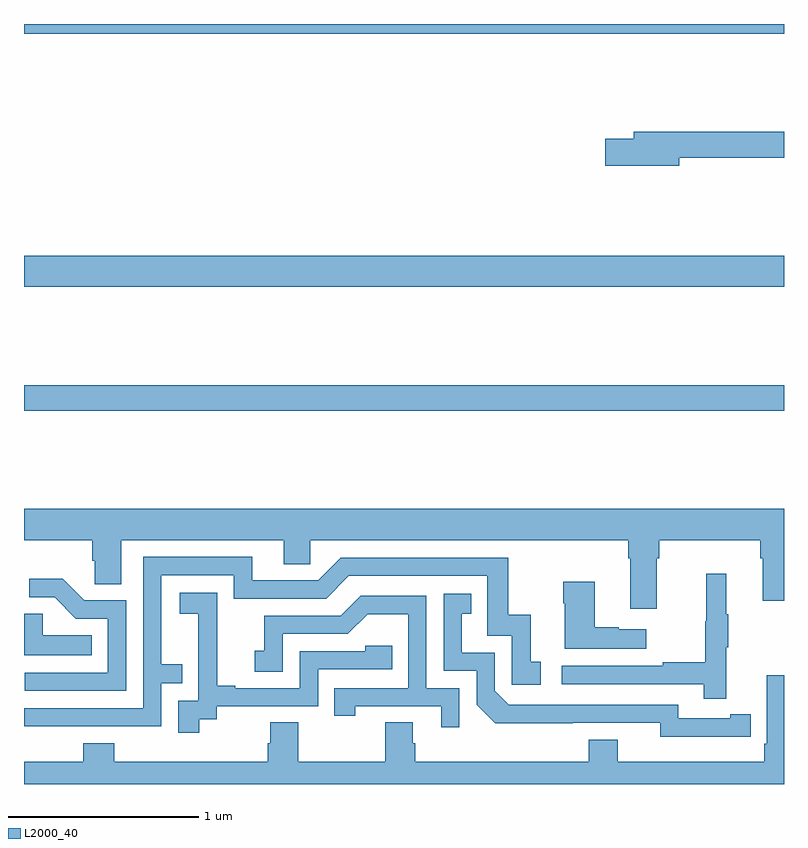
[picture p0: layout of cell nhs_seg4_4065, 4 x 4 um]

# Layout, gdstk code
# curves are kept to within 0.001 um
import gdstk
lib = gdstk.Library(unit=1e-6, precision=1e-09)
def R(c, l, rs):  # rectangles x0, y0, x1, y1
    for r in rs: c.add(gdstk.rectangle(r[:2], r[2:], *l))
def P(c, l, *ps):  # polygons
    for p in ps: c.add(gdstk.Polygon(p, *l))
L2000_40 = (2000, 40)

nhs_seg4_4065 = lib.new_cell('nhs_seg4_4065')
R(nhs_seg4_4065, L2000_40, [(327,766.864,331,767), (327,767.516,331,767.68), (327,768.848,331,768.9)])
P(nhs_seg4_4065, L2000_40, [(330.448,768.196),(331,768.196),(331,768.332),(330.209,768.332),(330.209,768.296),(330.06,768.296),(330.06,768.154),(330.448,768.154)],
  [(330.331,766.088),(330.344,766.088),(330.344,766.184),(330.875,766.184),(330.875,766.088),(330.887,766.088),(330.887,765.864),(331,765.864),(331,766.348),(327,766.348),(327,766.184),(327.359,766.184),(327.359,766.075),(327.372,766.075),(327.372,765.952),(327.511,765.952),(327.511,766.184),(328.367,766.184),(328.367,766.057),(328.506,766.057),(328.506,766.184),(330.179,766.184),(330.179,766.088),(330.191,766.088),(330.191,765.822),(330.331,765.822)],
  [(327.227,765.204),(327.723,765.204),(327.723,765.429),(327.833,765.429),(327.833,765.53),(327.723,765.53),(327.723,765.999),(328.104,765.999),(328.104,765.876),(328.59,765.876),(328.71,765.996),(329.439,765.996),(329.439,765.681),(329.568,765.681),(329.568,765.423),(329.719,765.423),(329.719,765.543),(329.666,765.543),(329.666,765.79),(329.548,765.79),(329.548,766.092),(328.668,766.092),(328.548,765.972),(328.201,765.972),(328.201,766.095),(327.627,766.095),(327.627,765.3),(327,765.3),(327,765.203)],
  [(330.695,765.619),(330.706,765.619),(330.706,765.793),(330.695,765.793),(330.695,766.006),(330.592,766.006),(330.592,765.756),(330.585,765.756),(330.585,765.542),(330.361,765.542),(330.361,765.522),(329.829,765.522),(329.829,765.426),(330.577,765.426),(330.577,765.348),(330.695,765.348)],
  [(327.537,765.867),(327.318,765.867),(327.205,765.98),(327.027,765.98),(327.027,765.882),(327.161,765.882),(327.272,765.771),(327.441,765.771),(327.441,765.486),(327.003,765.486),(327.003,765.39),(327.537,765.39)],
  [(330.274,765.715),(330.131,765.715),(330.131,765.725),(330.004,765.725),(330.004,765.964),(329.839,765.964),(329.839,765.851),(329.846,765.851),(329.846,765.611),(330.274,765.611)],
  [(327.922,765.241),(328.014,765.241),(328.014,765.309),(328.548,765.309),(328.548,765.504),(328.937,765.504),(328.937,765.627),(328.797,765.627),(328.797,765.6),(328.452,765.6),(328.452,765.405),(328.111,765.405),(328.111,765.418),(328.016,765.418),(328.016,765.701),(328.017,765.701),(328.017,765.907),(327.819,765.907),(327.819,765.797),(327.917,765.797),(327.917,765.569),(327.918,765.569),(327.918,765.339),(327.813,765.339),(327.813,765.171),(327.922,765.171)],
  [(330.716,765.15),(330.824,765.15),(330.824,765.266),(330.716,765.266),(330.716,765.246),(330.444,765.246),(330.444,765.318),(329.55,765.318),(329.478,765.39),(329.478,765.591),(329.305,765.591),(329.305,765.795),(329.354,765.795),(329.354,765.901),(329.208,765.901),(329.208,765.495),(329.382,765.495),(329.382,765.318),(329.48,765.221),(330.348,765.222),(330.348,765.149)],
  [(329.292,765.405),(329.118,765.405),(329.118,765.891),(328.772,765.891),(328.667,765.786),(328.264,765.786),(328.264,765.601),(328.215,765.601),(328.215,765.492),(328.362,765.492),(328.362,765.69),(328.704,765.69),(328.808,765.794),(329.022,765.794),(329.022,765.405),(328.633,765.405),(328.633,765.258),(328.744,765.258),(328.744,765.309),(329.195,765.309),(329.195,765.198),(329.292,765.198)],
  [(327.356,765.682),(327.099,765.682),(327.099,765.797),(327,765.797),(327,765.578),(327.356,765.578)],
  [(331,765.472),(330.909,765.472),(330.909,765.112),(330.896,765.112),(330.896,765.016),(330.124,765.016),(330.124,765.133),(329.972,765.133),(329.972,765.016),(329.06,765.016),(329.06,765.114),(329.047,765.114),(329.047,765.224),(328.9,765.224),(328.9,765.016),(328.443,765.016),(328.443,765.224),(328.295,765.224),(328.295,765.114),(328.283,765.114),(328.283,765.016),(327.476,765.016),(327.476,765.115),(327.311,765.115),(327.311,765.016),(327,765.016),(327,764.9),(331,764.9)])

lib.write_gds('nhs_seg4_4065.gds')
